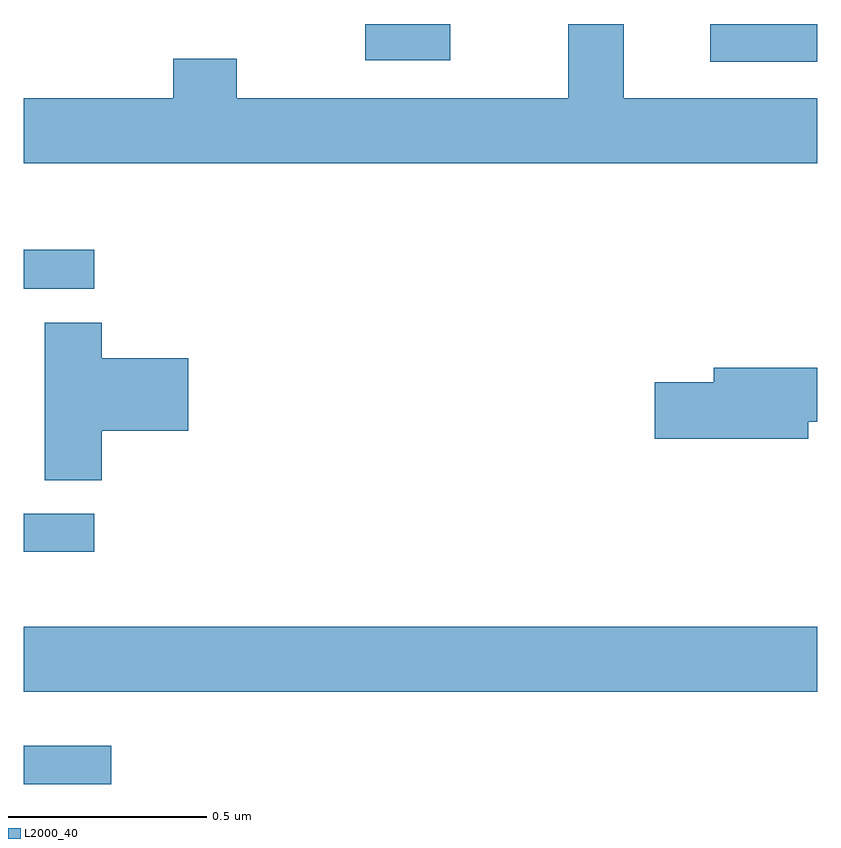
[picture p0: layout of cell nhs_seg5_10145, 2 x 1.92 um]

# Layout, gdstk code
import gdstk
lib = gdstk.Library(unit=1e-6, precision=1e-09)
def R(c, l, rs):  # rectangles x0, y0, x1, y1
    for r in rs: c.add(gdstk.rectangle(r[:2], r[2:], *l))
def P(c, l, *ps):  # polygons
    for p in ps: c.add(gdstk.Polygon(p, *l))
L2000_40 = (2000, 40)

nhs_seg5_10145 = lib.new_cell('nhs_seg5_10145')
R(nhs_seg5_10145, L2000_40, [(243,833.883,243.22,833.98), (243,834.116,245,834.28), (243,834.468,243.178,834.564), (243,835.131,243.178,835.23), (244.731,835.704,245,835.799), (243.861,835.707,244.075,835.799)])
P(nhs_seg5_10145, L2000_40, [(245,835.612),(244.513,835.612),(244.513,835.799),(244.373,835.799),(244.373,835.612),(243.537,835.612),(243.537,835.711),(243.377,835.711),(243.377,835.612),(243,835.612),(243,835.448),(245,835.448)],
  [(243.197,834.773),(243.415,834.773),(243.415,834.956),(243.197,834.956),(243.197,835.046),(243.053,835.046),(243.053,834.649),(243.197,834.649)],
  [(244.978,834.796),(245,834.796),(245,834.932),(244.739,834.932),(244.739,834.896),(244.59,834.896),(244.59,834.754),(244.978,834.754)])

lib.write_gds('nhs_seg5_10145.gds')
